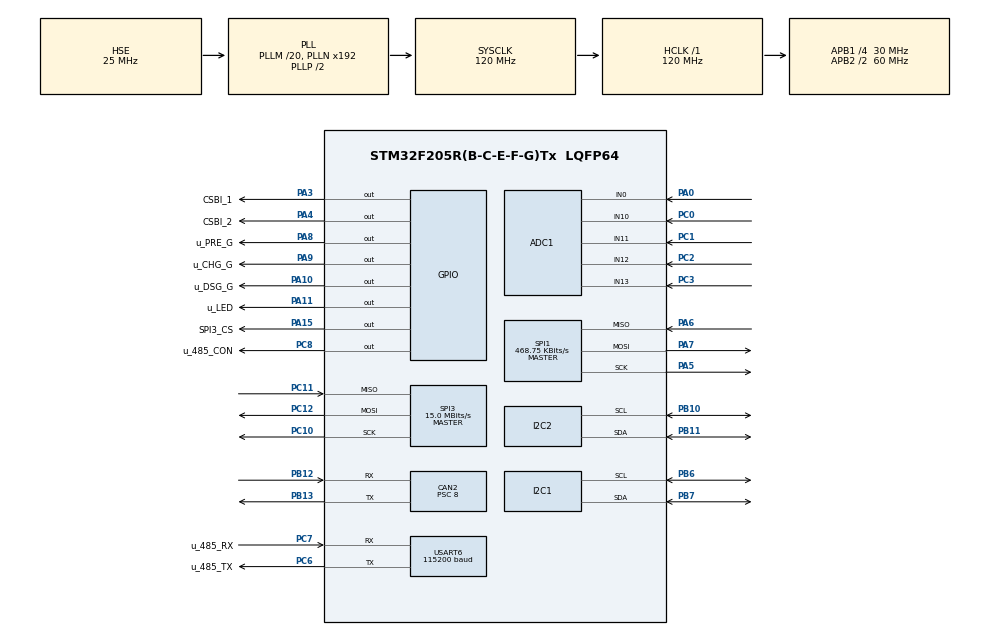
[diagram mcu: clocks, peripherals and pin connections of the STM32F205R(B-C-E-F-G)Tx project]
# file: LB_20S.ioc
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ADC1.Channel-1\#ChannelRegularConversion=ADC_CHANNEL_10
ADC1.Channel-2\#ChannelRegularConversion=ADC_CHANNEL_11
ADC1.Channel-3\#ChannelRegularConversion=ADC_CHANNEL_12
ADC1.Channel-4\#ChannelRegularConversion=ADC_CHANNEL_13
ADC1.Channel-5\#ChannelRegularConversion=ADC_CHANNEL_0
ADC1.ContinuousConvMode=ENABLE
ADC1.DMAContinuousRequests=ENABLE
ADC1.NbrOfConversion=5
ADC1.NbrOfConversionFlag=1
ADC1.Rank-1\#ChannelRegularConversion=1
ADC1.Rank-2\#ChannelRegularConversion=2
ADC1.Rank-3\#ChannelRegularConversion=3
ADC1.Rank-4\#ChannelRegularConversion=4
ADC1.Rank-5\#ChannelRegularConversion=5
ADC1.SamplingTime-1\#ChannelRegularConversion=ADC_SAMPLETIME_480CYCLES
ADC1.SamplingTime-2\#ChannelRegularConversion=ADC_SAMPLETIME_480CYCLES
ADC1.SamplingTime-3\#ChannelRegularConversion=ADC_SAMPLETIME_480CYCLES
ADC1.SamplingTime-4\#ChannelRegularConversion=ADC_SAMPLETIME_480CYCLES
ADC1.SamplingTime-5\#ChannelRegularConversion=ADC_SAMPLETIME_480CYCLES
ADC1.master=1
CAN2.BS1=CAN_BS1_12TQ
CAN2.BS2=CAN_BS2_2TQ
CAN2.CalculateBaudRate=249999
CAN2.CalculateTimeBit=4000
CAN2.CalculateTimeQuantum=266.6666666666667
CAN2.Prescaler=8
Dma.ADC1.0.Direction=DMA_PERIPH_TO_MEMORY
Dma.ADC1.0.FIFOMode=DMA_FIFOMODE_DISABLE
Dma.ADC1.0.Instance=DMA2_Stream0
Dma.ADC1.0.MemDataAlignment=DMA_MDATAALIGN_WORD
Dma.ADC1.0.MemInc=DMA_MINC_ENABLE
Dma.ADC1.0.Mode=DMA_CIRCULAR
Dma.ADC1.0.PeriphDataAlignment=DMA_PDATAALIGN_WORD
Dma.ADC1.0.PeriphInc=DMA_PINC_DISABLE
Dma.ADC1.0.Priority=DMA_PRIORITY_LOW
Dma.Request0=ADC1
I2C2.AddressingMode=I2C_ADDRESSINGMODE_7BIT
I2C2.I2C_Mode=I2C_Standard
Mcu.Family=STM32F2
Mcu.Name=STM32F205R(B-C-E-F-G)Tx
Mcu.Package=LQFP64
NVIC.CAN2_RX0_IRQn=true\:0\:0\:false\:false\:true\:true\:true\:true
NVIC.DMA2_Stream0_IRQn=true\:0\:0\:false\:false\:true\:false\:true\:true
NVIC.PriorityGroup=NVIC_PRIORITYGROUP_4
NVIC.TIM3_IRQn=true\:0\:0\:false\:false\:true\:true\:true\:true
NVIC.USART6_IRQn=true\:0\:0\:false\:false\:true\:true\:true\:true
PA0-WKUP.Signal=ADCx_IN0
PA10.GPIO_Label=u_DSG_G
PA10.Signal=GPIO_Output
PA11.GPIO_Label=u_LED
PA11.Signal=GPIO_Output
PA15.GPIO_Label=SPI3_CS
PA15.Signal=GPIO_Output
PA3.GPIO_Label=CSBI_1
PA3.Signal=GPIO_Output
PA4.GPIO_Label=CSBI_2
PA4.Signal=GPIO_Output
PA5.Mode=Full_Duplex_Master
PA5.Signal=SPI1_SCK
PA6.Mode=Full_Duplex_Master
PA6.Signal=SPI1_MISO
PA7.Mode=Full_Duplex_Master
PA7.Signal=SPI1_MOSI
PA8.GPIO_Label=u_PRE_G
PA8.GPIO_PuPd=GPIO_NOPULL
PA8.Signal=GPIO_Output
PA9.GPIO_Label=u_CHG_G
PA9.GPIO_ModeDefaultOutputPP=GPIO_MODE_OUTPUT_PP
PA9.GPIO_PuPd=GPIO_NOPULL
PA9.PinState=GPIO_PIN_SET
PA9.Signal=GPIO_Output
PB10.GPIO_Pu=GPIO_PULLUP
PB10.Mode=I2C
PB10.Signal=I2C2_SCL
PB11.GPIO_Pu=GPIO_PULLUP
PB11.Mode=I2C
PB11.Signal=I2C2_SDA
PB12.Mode=CAN_Activate
PB12.Signal=CAN2_RX
PB13.Mode=CAN_Activate
PB13.Signal=CAN2_TX
PB6.Mode=I2C
PB6.Signal=I2C1_SCL
PB7.Mode=I2C
PB7.Signal=I2C1_SDA
PC0.Signal=ADCx_IN10
PC1.Signal=ADCx_IN11
PC10.Mode=Full_Duplex_Master
PC10.Signal=SPI3_SCK
PC11.Mode=Full_Duplex_Master
PC11.Signal=SPI3_MISO
PC12.Mode=Full_Duplex_Master
PC12.Signal=SPI3_MOSI
PC2.Signal=ADCx_IN12
PC3.Signal=ADCx_IN13
PC6.GPIO_Label=u_485_TX
PC6.Mode=Asynchronous
PC6.Signal=USART6_TX
PC7.GPIO_Label=u_485_RX
PC7.Mode=Asynchronous
PC7.Signal=USART6_RX
PC8.GPIO_Label=u_485_CON
PC8.PinState=GPIO_PIN_SET
PC8.Signal=GPIO_Output
PH0-OSC_IN.Mode=HSE-External-Oscillator
PH0-OSC_IN.Signal=RCC_OSC_IN
PH1-OSC_OUT.Mode=HSE-External-Oscillator
PH1-OSC_OUT.Signal=RCC_OSC_OUT
ProjectManager.HeapSize=0x200
ProjectManager.StackSize=0x1000
ProjectManager.TargetToolchain=STM32CubeIDE
RCC.48MHZClocksFreq_Value=26666666.666666668
RCC.AHBFreq_Value=120000000
RCC.APB1CLKDivider=RCC_HCLK_DIV4
RCC.APB1Freq_Value=30000000
RCC.APB1TimFreq_Value=60000000
RCC.APB2CLKDivider=RCC_HCLK_DIV2
RCC.APB2Freq_Value=60000000
RCC.APB2TimFreq_Value=120000000
RCC.CortexFreq_Value=120000000
RCC.HCLKFreq_Value=120000000
RCC.HSE_VALUE=25000000
RCC.HSI_VALUE=16000000
RCC.LSE_VALUE=32768
RCC.PLLM=20
RCC.PLLQ=9
RCC.PLLSourceVirtual=RCC_PLLSOURCE_HSE
RCC.SYSCLKFreq_VALUE=120000000
RCC.SYSCLKSource=RCC_SYSCLKSOURCE_PLLCLK
RCC.VCOOutputFreq_Value=240000000
SH.ADCx_IN0.0=ADC1_IN0,IN0
SH.ADCx_IN10.0=ADC1_IN10,IN10
SH.ADCx_IN11.0=ADC1_IN11,IN11
SH.ADCx_IN12.0=ADC1_IN12,IN12
SH.ADCx_IN13.0=ADC1_IN13,IN13
SPI1.BaudRatePrescaler=SPI_BAUDRATEPRESCALER_128
SPI1.CalculateBaudRate=468.75 KBits/s
SPI1.Direction=SPI_DIRECTION_2LINES
SPI1.Mode=SPI_MODE_MASTER
SPI1.VirtualType=VM_MASTER
SPI3.CalculateBaudRate=15.0 MBits/s
SPI3.Direction=SPI_DIRECTION_2LINES
SPI3.Mode=SPI_MODE_MASTER
SPI3.VirtualType=VM_MASTER
TIM3.Period=1000
TIM3.Prescaler=5999
USART6.BaudRate=115200
USART6.VirtualMode=VM_ASYNC
VP_RTC_VS_RTC_Activate.Mode=RTC_Enabled
VP_TIM3_VS_ClockSourceINT.Mode=Internal
board=custom

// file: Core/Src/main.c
/* USER CODE BEGIN Header */
/**
  ******************************************************************************
  * @file           : main.c
  * @brief          : Main program body
  ******************************************************************************
  * @attention
  *
  * Copyright (c) 2022 STMicroelectronics.
  * All rights reserved.
  *
  * This software is licensed under terms that can be found in the LICENSE file
  * in the root directory of this software component.
  * If no LICENSE file comes with this software, it is provided AS-IS.
  *
  ******************************************************************************
  */
/* USER CODE END Header */
#include "main.h"
#include <string.h>

/* USER CODE BEGIN Includes */
uint32_t u32t_Buffer[5];

/* USER CODE END Includes */

/* USER CODE BEGIN PM */
#include "math.h"

CAN_RxHeaderTypeDef RxHeader;

uint8_t CAN_rx_data[8];
uint8_t CAN_rx_flag=FALSE;

/* USER CODE END PM */

ADC_HandleTypeDef hadc1;
DMA_HandleTypeDef hdma_adc1;

CAN_HandleTypeDef hcan2;

I2C_HandleTypeDef hi2c1;
I2C_HandleTypeDef hi2c2;

RTC_HandleTypeDef hrtc;

SPI_HandleTypeDef hspi1;
SPI_HandleTypeDef hspi3;

TIM_HandleTypeDef htim3;

UART_HandleTypeDef huart6;

void SystemClock_Config(void);
static void MX_GPIO_Init(void);
static void MX_DMA_Init(void);
static void MX_SPI1_Init(void);
static void MX_I2C2_Init(void);
static void MX_USART6_UART_Init(void);
static void MX_RTC_Init(void);
static void MX_ADC1_Init(void);
static void MX_I2C1_Init(void);
static void MX_CAN2_Init(void);
static void MX_SPI3_Init(void);
static void MX_TIM3_Init(void);

/* USER CODE BEGIN 0 */

#ifdef __cplusplus
extern "C" int _write(int32_t file, uint8_t *ptr, int32_t len)
{
#else
int _write(int32_t file, uint8_t *ptr, int32_t len)
{
#endif
	HAL_GPIO_WritePin(u_485_CON_GPIO_Port, u_485_CON_Pin,0);
    if( HAL_UART_Transmit(&huart6, ptr, len, len) == HAL_OK ) return len;
    else return 0;
}

extern void initialize(void);
extern void User_Process(void);

/**
  * @brief  Vector base address configuration. It should no longer be at the start of
  *         flash memory but moved forward because the first part of flash is
  *         reserved for the bootloader. Note that this is already done by the
  *         bootloader before starting this program. Unfortunately, function
  *         SystemInit() overwrites this change again.
  * @return none.
  */
static void VectorBase_Config(void)
{
  /* The constant array with vectors of the vector table is declared externally in the
   * c-startup code.
   */
  extern const unsigned long g_pfnVectors[];

  /* Remap the vector table to where the vector table is located for this program. */
  SCB->VTOR = (unsigned long)&g_pfnVectors[0];
}

/* USER CODE END 0 */

int main(void)
{
  /* USER CODE BEGIN 1 */

	/* Configure the vector table base address. */
	//VectorBase_Config();

  /* USER CODE END 1 */

  /* MCU Configuration--------------------------------------------------------*/

  /* Reset of all peripherals, Initializes the Flash interface and the Systick. */
  HAL_Init();

  /* Configure the system clock */
  SystemClock_Config();

  /* Initialize all configured peripherals */
  MX_GPIO_Init();
  MX_DMA_Init();
  MX_SPI1_Init();
  MX_I2C2_Init();
  MX_USART6_UART_Init();
  MX_RTC_Init();
  MX_ADC1_Init();
  MX_I2C1_Init();
  MX_CAN2_Init();
  MX_SPI3_Init();
  MX_TIM3_Init();
  /* USER CODE BEGIN 2 */

  initialize();

  /* USER CODE END 2 */

  /* Infinite loop */
  while (1)
  {

    /* USER CODE BEGIN 3 */

	  User_Process();

  }
  /* USER CODE END 3 */
}

void SystemClock_Config(void)
{
  RCC_OscInitTypeDef RCC_OscInitStruct = {0};
  RCC_ClkInitTypeDef RCC_ClkInitStruct = {0};
  RCC_PeriphCLKInitTypeDef PeriphClkInitStruct = {0};

  /** Initializes the RCC Oscillators according to the specified parameters
  * in the RCC_OscInitTypeDef structure.
  */
  RCC_OscInitStruct.OscillatorType = RCC_OSCILLATORTYPE_LSI|RCC_OSCILLATORTYPE_HSE;
  RCC_OscInitStruct.HSEState = RCC_HSE_ON;
  RCC_OscInitStruct.LSIState = RCC_LSI_ON;
  RCC_OscInitStruct.PLL.PLLState = RCC_PLL_ON;
  RCC_OscInitStruct.PLL.PLLSource = RCC_PLLSOURCE_HSE;
  RCC_OscInitStruct.PLL.PLLM = 20;
  RCC_OscInitStruct.PLL.PLLN = 192;
  RCC_OscInitStruct.PLL.PLLP = RCC_PLLP_DIV2;
  RCC_OscInitStruct.PLL.PLLQ = 9;
  if (HAL_RCC_OscConfig(&RCC_OscInitStruct) != HAL_OK)
  {
    Error_Handler();
  }

  /** Initializes the CPU, AHB and APB buses clocks
  */
  RCC_ClkInitStruct.ClockType = RCC_CLOCKTYPE_HCLK|RCC_CLOCKTYPE_SYSCLK
                              |RCC_CLOCKTYPE_PCLK1|RCC_CLOCKTYPE_PCLK2;
  RCC_ClkInitStruct.SYSCLKSource = RCC_SYSCLKSOURCE_PLLCLK;
  RCC_ClkInitStruct.AHBCLKDivider = RCC_SYSCLK_DIV1;
  RCC_ClkInitStruct.APB1CLKDivider = RCC_HCLK_DIV4;
  RCC_ClkInitStruct.APB2CLKDivider = RCC_HCLK_DIV2;

  if (HAL_RCC_ClockConfig(&RCC_ClkInitStruct, FLASH_LATENCY_3) != HAL_OK)
  {
    Error_Handler();
  }
  PeriphClkInitStruct.PeriphClockSelection = RCC_PERIPHCLK_RTC;
  PeriphClkInitStruct.RTCClockSelection = RCC_RTCCLKSOURCE_LSI;
  if (HAL_RCCEx_PeriphCLKConfig(&PeriphClkInitStruct) != HAL_OK)
  {
    Error_Handler();
  }
}

static void MX_ADC1_Init(void)
{

  ADC_ChannelConfTypeDef sConfig = {0};

  /** Configure the global features of the ADC (Clock, Resolution, Data Alignment and number of conversion)
  */
  hadc1.Instance = ADC1;
  hadc1.Init.ClockPrescaler = ADC_CLOCK_SYNC_PCLK_DIV2;
  hadc1.Init.Resolution = ADC_RESOLUTION_12B;
  hadc1.Init.ScanConvMode = ENABLE;
  hadc1.Init.ContinuousConvMode = ENABLE;
  hadc1.Init.DiscontinuousConvMode = DISABLE;
  hadc1.Init.ExternalTrigConvEdge = ADC_EXTERNALTRIGCONVEDGE_NONE;
  hadc1.Init.ExternalTrigConv = ADC_SOFTWARE_START;
  hadc1.Init.DataAlign = ADC_DATAALIGN_RIGHT;
  hadc1.Init.NbrOfConversion = 5;
  hadc1.Init.DMAContinuousRequests = ENABLE;
  hadc1.Init.EOCSelection = ADC_EOC_SINGLE_CONV;
  if (HAL_ADC_Init(&hadc1) != HAL_OK)
  {
    Error_Handler();
  }

  /** Configure for the selected ADC regular channel its corresponding rank in the sequencer and its sample time.
  */
  sConfig.Channel = ADC_CHANNEL_10;
  sConfig.Rank = 1;
  sConfig.SamplingTime = ADC_SAMPLETIME_480CYCLES;
  if (HAL_ADC_ConfigChannel(&hadc1, &sConfig) != HAL_OK)
  {
    Error_Handler();
  }

  /** Configure for the selected ADC regular channel its corresponding rank in the sequencer and its sample time.
  */
  sConfig.Channel = ADC_CHANNEL_11;
  sConfig.Rank = 2;
  if (HAL_ADC_ConfigChannel(&hadc1, &sConfig) != HAL_OK)
  {
    Error_Handler();
  }

  /** Configure for the selected ADC regular channel its corresponding rank in the sequencer and its sample time.
  */
  sConfig.Channel = ADC_CHANNEL_12;
  sConfig.Rank = 3;
  if (HAL_ADC_ConfigChannel(&hadc1, &sConfig) != HAL_OK)
  {
    Error_Handler();
  }

  /** Configure for the selected ADC regular channel its corresponding rank in the sequencer and its sample time.
  */
  sConfig.Channel = ADC_CHANNEL_13;
  sConfig.Rank = 4;
  if (HAL_ADC_ConfigChannel(&hadc1, &sConfig) != HAL_OK)
  {
    Error_Handler();
  }

  /** Configure for the selected ADC regular channel its corresponding rank in the sequencer and its sample time.
  */
  sConfig.Channel = ADC_CHANNEL_0;
  sConfig.Rank = 5;
  if (HAL_ADC_ConfigChannel(&hadc1, &sConfig) != HAL_OK)
  {
    Error_Handler();
  }
  /* USER CODE BEGIN ADC1_Init 2 */
	HAL_ADC_Start_DMA(&hadc1, (uint32_t *)u32t_Buffer, 5 );

  /* USER CODE END ADC1_Init 2 */

}

static void MX_CAN2_Init(void)
{

  hcan2.Instance = CAN2;
  hcan2.Init.Prescaler = 8;
  hcan2.Init.Mode = CAN_MODE_NORMAL;
  hcan2.Init.SyncJumpWidth = CAN_SJW_1TQ;
  hcan2.Init.TimeSeg1 = CAN_BS1_12TQ;
  hcan2.Init.TimeSeg2 = CAN_BS2_2TQ;
  hcan2.Init.TimeTriggeredMode = DISABLE;
  hcan2.Init.AutoBusOff = DISABLE;
  hcan2.Init.AutoWakeUp = DISABLE;
  hcan2.Init.AutoRetransmission = DISABLE;
  hcan2.Init.ReceiveFifoLocked = DISABLE;
  hcan2.Init.TransmitFifoPriority = DISABLE;
  if (HAL_CAN_Init(&hcan2) != HAL_OK)
  {
    Error_Handler();
  }
  /* USER CODE BEGIN CAN2_Init 2 */
  // 14 ~

  CAN_FilterTypeDef  sFilterConfig;

  	//Extended Id Test 221125
   	//uint32_t FilterId = 0x00000000;
    sFilterConfig.FilterBank = 14;
    sFilterConfig.FilterMode = CAN_FILTERMODE_IDMASK;
    sFilterConfig.FilterScale = CAN_FILTERSCALE_32BIT;
    sFilterConfig.FilterIdHigh = 0x000 << 5;
    sFilterConfig.FilterIdLow = 0x0000;
    sFilterConfig.FilterMaskIdHigh = 0x000 << 5;      // 0x00000000
    sFilterConfig.FilterMaskIdLow = 0x0000;
    sFilterConfig.FilterFIFOAssignment = CAN_RX_FIFO0;
    sFilterConfig.FilterActivation = ENABLE;
    sFilterConfig.SlaveStartFilterBank = 14;

  /*
  sFilterConfig.FilterBank = 15;//14;
  sFilterConfig.FilterMode = CAN_FILTERMODE_IDMASK;
  sFilterConfig.FilterScale = CAN_FILTERSCALE_32BIT;
  sFilterConfig.FilterIdHigh = 0x002 << 5;
  sFilterConfig.FilterIdLow = 0x0000;
  sFilterConfig.FilterMaskIdHigh = 0x002 << 5;
  sFilterConfig.FilterMaskIdLow = 0x0000;
  sFilterConfig.FilterFIFOAssignment = CAN_RX_FIFO0;
  sFilterConfig.FilterActivation = ENABLE;
  sFilterConfig.SlaveStartFilterBank = 14;
*/
  if (HAL_CAN_ConfigFilter(&hcan2, &sFilterConfig) != HAL_OK)
  {
	  Error_Handler();
  }

  if (HAL_CAN_Start(&hcan2) != HAL_OK)
  {
	  Error_Handler();
  }

  if (HAL_CAN_ActivateNotification(&hcan2, CAN_IT_RX_FIFO0_MSG_PENDING) != HAL_OK)
  {
	  Error_Handler();
  }

  /* USER CODE END CAN2_Init 2 */

}

static void MX_I2C1_Init(void)
{

  hi2c1.Instance = I2C1;
  hi2c1.Init.ClockSpeed = 100000;
  hi2c1.Init.DutyCycle = I2C_DUTYCYCLE_2;
  hi2c1.Init.OwnAddress1 = 0;
  hi2c1.Init.AddressingMode = I2C_ADDRESSINGMODE_7BIT;
  hi2c1.Init.DualAddressMode = I2C_DUALADDRESS_DISABLE;
  hi2c1.Init.OwnAddress2 = 0;
  hi2c1.Init.GeneralCallMode = I2C_GENERALCALL_DISABLE;
  hi2c1.Init.NoStretchMode = I2C_NOSTRETCH_DISABLE;
  if (HAL_I2C_Init(&hi2c1) != HAL_OK)
  {
    Error_Handler();
  }

}

static void MX_I2C2_Init(void)
{

  hi2c2.Instance = I2C2;
  hi2c2.Init.ClockSpeed = 100000;
  hi2c2.Init.DutyCycle = I2C_DUTYCYCLE_2;
  hi2c2.Init.OwnAddress1 = 0;
  hi2c2.Init.AddressingMode = I2C_ADDRESSINGMODE_7BIT;
  hi2c2.Init.DualAddressMode = I2C_DUALADDRESS_DISABLE;
  hi2c2.Init.OwnAddress2 = 0;
  hi2c2.Init.GeneralCallMode = I2C_GENERALCALL_DISABLE;
  hi2c2.Init.NoStretchMode = I2C_NOSTRETCH_DISABLE;
  if (HAL_I2C_Init(&hi2c2) != HAL_OK)
  {
    Error_Handler();
  }

}

static void MX_RTC_Init(void)
{

  /** Initialize RTC Only
  */
  hrtc.Instance = RTC;
  hrtc.Init.HourFormat = RTC_HOURFORMAT_24;
  hrtc.Init.AsynchPrediv = 127;
  hrtc.Init.SynchPrediv = 255;
  hrtc.Init.OutPut = RTC_OUTPUT_DISABLE;
  hrtc.Init.OutPutPolarity = RTC_OUTPUT_POLARITY_HIGH;
  hrtc.Init.OutPutType = RTC_OUTPUT_TYPE_OPENDRAIN;
  if (HAL_RTC_Init(&hrtc) != HAL_OK)
  {
    Error_Handler();
  }
  /* USER CODE BEGIN RTC_Init 2 */
#define		RTC_BK_CHECK		0xAA55
  RTC_TimeTypeDef 	sTime = {0};
  RTC_DateTypeDef 	sDate = {0};

	HAL_PWR_EnableBkUpAccess();

	if (HAL_RTCEx_BKUPRead(&hrtc, RTC_BKP_DR0) != RTC_BK_CHECK )
	{
		sTime.Hours = 0;
		sTime.Minutes = 0;
		sTime.Seconds = 0;
		sTime.DayLightSaving = RTC_DAYLIGHTSAVING_NONE;
		sTime.StoreOperation = RTC_STOREOPERATION_RESET;
		if (HAL_RTC_SetTime(&hrtc, &sTime, RTC_FORMAT_BCD) != HAL_OK)
		{
			Error_Handler();
		}

		sDate.WeekDay = RTC_WEEKDAY_SATURDAY;
		sDate.Month = RTC_MONTH_FEBRUARY;
		sDate.Date = 3;
		sDate.Year = 0x22;
		sDate.Month = 0x10;
		sDate.Date = 0x15;

		if (HAL_RTC_SetDate(&hrtc, &sDate, RTC_FORMAT_BCD) != HAL_OK)
		{
			Error_Handler();
		}

		HAL_RTCEx_BKUPWrite(&hrtc, RTC_BKP_DR0, RTC_BK_CHECK );
	}

  /* USER CODE END RTC_Init 2 */

}

static void MX_SPI1_Init(void)
{

  /* SPI1 parameter configuration*/
  hspi1.Instance = SPI1;
  hspi1.Init.Mode = SPI_MODE_MASTER;
  hspi1.Init.Direction = SPI_DIRECTION_2LINES;
  hspi1.Init.DataSize = SPI_DATASIZE_8BIT;
  hspi1.Init.CLKPolarity = SPI_POLARITY_LOW;
  hspi1.Init.CLKPhase = SPI_PHASE_1EDGE;
  hspi1.Init.NSS = SPI_NSS_SOFT;
  hspi1.Init.BaudRatePrescaler = SPI_BAUDRATEPRESCALER_128;
  hspi1.Init.FirstBit = SPI_FIRSTBIT_MSB;
  hspi1.Init.TIMode = SPI_TIMODE_DISABLE;
  hspi1.Init.CRCCalculation = SPI_CRCCALCULATION_DISABLE;
  hspi1.Init.CRCPolynomial = 10;
  if (HAL_SPI_Init(&hspi1) != HAL_OK)
  {
    Error_Handler();
  }

}

static void MX_SPI3_Init(void)
{

  /* SPI3 parameter configuration*/
  hspi3.Instance = SPI3;
  hspi3.Init.Mode = SPI_MODE_MASTER;
  hspi3.Init.Direction = SPI_DIRECTION_2LINES;
  hspi3.Init.DataSize = SPI_DATASIZE_8BIT;
  hspi3.Init.CLKPolarity = SPI_POLARITY_LOW;
  hspi3.Init.CLKPhase = SPI_PHASE_1EDGE;
  hspi3.Init.NSS = SPI_NSS_SOFT;
  hspi3.Init.BaudRatePrescaler = SPI_BAUDRATEPRESCALER_2;
  hspi3.Init.FirstBit = SPI_FIRSTBIT_MSB;
  hspi3.Init.TIMode = SPI_TIMODE_DISABLE;
  hspi3.Init.CRCCalculation = SPI_CRCCALCULATION_DISABLE;
  hspi3.Init.CRCPolynomial = 10;
  if (HAL_SPI_Init(&hspi3) != HAL_OK)
  {
    Error_Handler();
  }

}

static void MX_TIM3_Init(void)
{

  TIM_ClockConfigTypeDef sClockSourceConfig = {0};
  TIM_MasterConfigTypeDef sMasterConfig = {0};

  htim3.Instance = TIM3;
  htim3.Init.Prescaler = 5999;
  htim3.Init.CounterMode = TIM_COUNTERMODE_UP;
  htim3.Init.Period = 1000;
  htim3.Init.ClockDivision = TIM_CLOCKDIVISION_DIV1;
  htim3.Init.AutoReloadPreload = TIM_AUTORELOAD_PRELOAD_DISABLE;
  if (HAL_TIM_Base_Init(&htim3) != HAL_OK)
  {
    Error_Handler();
  }
  sClockSourceConfig.ClockSource = TIM_CLOCKSOURCE_INTERNAL;
  if (HAL_TIM_ConfigClockSource(&htim3, &sClockSourceConfig) != HAL_OK)
  {
    Error_Handler();
  }
  sMasterConfig.MasterOutputTrigger = TIM_TRGO_RESET;
  sMasterConfig.MasterSlaveMode = TIM_MASTERSLAVEMODE_DISABLE;
  if (HAL_TIMEx_MasterConfigSynchronization(&htim3, &sMasterConfig) != HAL_OK)
  {
    Error_Handler();
  }
  /* USER CODE BEGIN TIM3_Init 2 */
  if ( HAL_TIM_Base_Start_IT(&htim3) != HAL_OK)
  {
	Error_Handler();
  }
  /* USER CODE END TIM3_Init 2 */

}

static void MX_USART6_UART_Init(void)
{

  huart6.Instance = USART6;
  huart6.Init.BaudRate = 115200;
  huart6.Init.WordLength = UART_WORDLENGTH_8B;
  huart6.Init.StopBits = UART_STOPBITS_1;
  huart6.Init.Parity = UART_PARITY_NONE;
  huart6.Init.Mode = UART_MODE_TX_RX;
  huart6.Init.HwFlowCtl = UART_HWCONTROL_NONE;
  huart6.Init.OverSampling = UART_OVERSAMPLING_16;
  if (HAL_UART_Init(&huart6) != HAL_OK)
  {
    Error_Handler();
  }

}

static void MX_DMA_Init(void)
{

  /* DMA controller clock enable */
  __HAL_RCC_DMA2_CLK_ENABLE();

  /* DMA interrupt init */
  /* DMA2_Stream0_IRQn interrupt configuration */
  HAL_NVIC_SetPriority(DMA2_Stream0_IRQn, 0, 0);
  HAL_NVIC_EnableIRQ(DMA2_Stream0_IRQn);

}

static void MX_GPIO_Init(void)
{
  GPIO_InitTypeDef GPIO_InitStruct = {0};

  /* GPIO Ports Clock Enable */
  __HAL_RCC_GPIOH_CLK_ENABLE();
  __HAL_RCC_GPIOC_CLK_ENABLE();
  __HAL_RCC_GPIOA_CLK_ENABLE();
  __HAL_RCC_GPIOB_CLK_ENABLE();

  /*Configure GPIO pin Output Level */
  HAL_GPIO_WritePin(GPIOA, CSBI_1_Pin|CSBI_2_Pin|u_PRE_G_Pin|u_DSG_G_Pin
                          |u_LED_Pin|SPI3_CS_Pin, GPIO_PIN_RESET);

  /*Configure GPIO pin Output Level */
  HAL_GPIO_WritePin(u_485_CON_GPIO_Port, u_485_CON_Pin, GPIO_PIN_SET);

  /*Configure GPIO pin Output Level */
  HAL_GPIO_WritePin(u_CHG_G_GPIO_Port, u_CHG_G_Pin, GPIO_PIN_SET);

  /*Configure GPIO pins : CSBI_1_Pin CSBI_2_Pin u_PRE_G_Pin u_CHG_G_Pin
                           u_DSG_G_Pin u_LED_Pin SPI3_CS_Pin */
  GPIO_InitStruct.Pin = CSBI_1_Pin|CSBI_2_Pin|u_PRE_G_Pin|u_CHG_G_Pin
                          |u_DSG_G_Pin|u_LED_Pin|SPI3_CS_Pin;
  GPIO_InitStruct.Mode = GPIO_MODE_OUTPUT_PP;
  GPIO_InitStruct.Pull = GPIO_NOPULL;
  GPIO_InitStruct.Speed = GPIO_SPEED_FREQ_LOW;
  HAL_GPIO_Init(GPIOA, &GPIO_InitStruct);

  /*Configure GPIO pin : u_485_CON_Pin */
  GPIO_InitStruct.Pin = u_485_CON_Pin;
  GPIO_InitStruct.Mode = GPIO_MODE_OUTPUT_PP;
  GPIO_InitStruct.Pull = GPIO_NOPULL;
  GPIO_InitStruct.Speed = GPIO_SPEED_FREQ_LOW;
  HAL_GPIO_Init(u_485_CON_GPIO_Port, &GPIO_InitStruct);

}

/* USER CODE BEGIN 4 */

void HAL_CAN_RxFifo0MsgPendingCallback(CAN_HandleTypeDef *hcan)
{
	uint8_t RxData[8];

	CAN_rx_flag = TRUE;
	memset(&RxHeader, 0, sizeof(CAN_RxHeaderTypeDef));

	//Get RX message
	if(HAL_CAN_GetRxMessage(hcan, CAN_RX_FIFO0, &RxHeader, RxData) == HAL_OK)
	{
		for(int i=0;i<8;i++) CAN_rx_data[i]= RxData[i];
	}

    HAL_CAN_ActivateNotification(hcan, CAN_IT_RX_FIFO0_MSG_PENDING);

}

/* USER CODE END 4 */

void Error_Handler(void)
{
  /* USER CODE BEGIN Error_Handler_Debug */
  /* User can add his own implementation to report the HAL error return state */
  __disable_irq();
  while (1)
  {
	  main();
  }
  /* USER CODE END Error_Handler_Debug */
}

#ifdef  USE_FULL_ASSERT
/**
  * @brief  Reports the name of the source file and the source line number
  *         where the assert_param error has occurred.
  * @param  file: pointer to the source file name
  * @param  line: assert_param error line source number
  * @retval None
  */
void assert_failed(uint8_t *file, uint32_t line)
{
  /* USER CODE BEGIN 6 */
  /* User can add his own implementation to report the file name and line number,
     ex: log_debug("Wrong parameters value: file %s on line %d\r\n", file, line) */
  /* USER CODE END 6 */
}
#endif /* USE_FULL_ASSERT */
